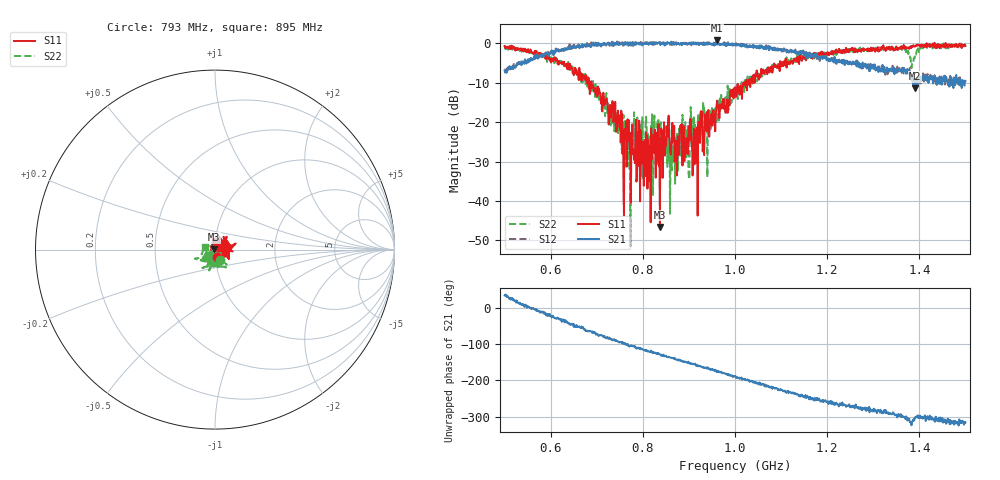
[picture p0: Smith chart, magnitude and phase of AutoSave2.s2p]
!Agilent N9923A: A.05.17
!Date: Sunday, 01 January 2006 12:27:58
!Model: N9923A
!Serial: MY50371189
!CHECKSUM:0728282184
!Correction: S11(OFF)S21(ON U)S12(OFF)S22(OFF)
!S2P File: Measurements:S11,S21,S12,S22:
# Hz S DB R 50
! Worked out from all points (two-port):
!   1001 points, 500 MHz to 1.5 GHz, reference 50 ohm
!   highest |S21| = 0.66 dB at 960 MHz (marker M1); lowest = -11.4 dB at 1.39 GHz (marker M2)
!   |S21| within 3 dB of the highest: 610.1 MHz to 1.112 GHz (501.8 MHz wide, 58.3 % of centre); 1.123 GHz to 1.13 GHz (6.828 MHz wide, 0.606 % of centre) (the widest 2 of 16)
!   lowest |S11| = -46.6 dB at 837 MHz (marker M3), VSWR 1.01, Z = 49.5 + j0.0684 ohm
!   |S11| at or under -10 dB: 684.1 MHz to 687.8 MHz (3.757 MHz wide, 0.548 % of centre); 688.3 MHz to 1.023 GHz (334.2 MHz wide, 39.1 % of centre); 1.041975 GHz to 1.04304 GHz (1.065 MHz wide, 0.102 % of centre) (the widest 3 of 12)
!   |S22| runs from -51.4 to -0.1 dB; largest |S21 - S12| = 0.14
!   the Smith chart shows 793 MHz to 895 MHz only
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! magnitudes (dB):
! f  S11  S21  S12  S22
! 500 MHz  -0.8  -6.9  -6.6  -1.4
! 667 MHz  -9.6  -0.7  -0.9  -8.5
! 748 MHz  -18.5  -0.3  0.3  -22.2
! 754 MHz  -23.5  -0.1  0.1  -26.9
! 770 MHz  -24.3  -0.4  0.1  -27.8
! 780 MHz  -26.9  -0.5  -0.1  -23.6
! 812 MHz  -29.7  -0.4  -0.4  -24.0
! 834 MHz  -20.5  0.2  -0.4  -19.5
! 837 MHz  -46.6  0.2  -0.1  -26.5
! 853 MHz  -23.6  0.3  -0.1  -31.4
! 861 MHz  -28.3  0.0  0.2  -31.3
! 889 MHz  -21.0  -0.2  0.0  -23.7
! 896 MHz  -27.9  -0.3  -0.5  -23.5
! 907 MHz  -26.7  -0.1  -0.1  -26.7
! 914 MHz  -23.8  -0.1  0.1  -23.8
! 925 MHz  -18.1  -0.2  0.1  -18.4
! 960 MHz  -16.2  0.7  -0.5  -20.2
! 1 GHz  -12.8  -0.4  -0.6  -11.8
! 1.167 GHz  -3.7  -2.7  -3.1  -3.2
! 1.334 GHz  -1.5  -6.5  -6.8  -1.4
! 1.39 GHz  -0.9  -11.4  -10.7  -3.7
! 1.5 GHz  -0.7  -9.6  -9.3  -0.5
